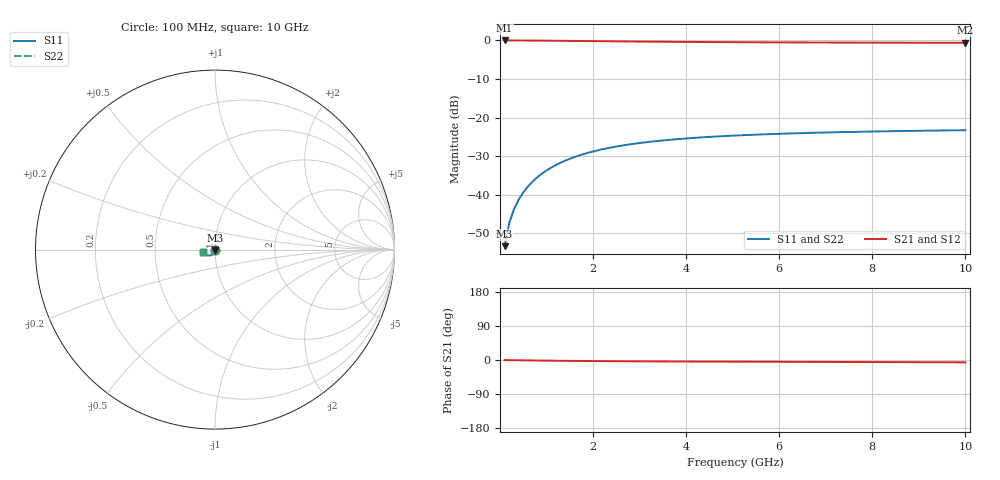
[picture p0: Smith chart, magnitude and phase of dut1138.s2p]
! Touchstone file exported from HFSS 2024.1.0
!  File:  C:/UserFiles/LocalFiles/RDL_TSV_Batchsim/temp_TSV1_1138_1780070653.aedt
!  Generated:  12:11:16 AM May 30, 2026
!  Design:  TSV1
!  Project:  temp_TSV1_1138_1780070653
!  Setup:  Setup1
!  Solution:  Sweep
! Variables:
!  dtsv = 14.49um
!  hbump = 3um
!  htsv = 95.48um
!  lrdl = 252.1521522um
!  p = 40
!  p1 = 56.03um
!  t = 500um
!  trdl = 3um
!  wrdl = 24.89489489um
# GHz S MA R 50.000000
! Terminal data exported
! Port[1] = TSV22_T1
! Port[2] = TSV22_T2
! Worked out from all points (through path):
!   100 points, 100 MHz to 10 GHz, reference 50 ohm
!   highest |S21| = 0.00 dB at 100 MHz (marker M1); lowest = -0.6 dB at 10 GHz (marker M2)
!   lowest |S11| = -53.3 dB at 100 MHz (marker M3), VSWR 1.00, Z = 50 - j0.216 ohm
!   |S11| at or under -10 dB: start of sweep to end of sweep
!   |S22| runs from -53.3 to -23.3 dB; largest |S21 - S12| = 5.6e-15
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0.1  0.002158 -89.5  0.9998 -0.2  0.9998 -0.2  0.002158 -89.5
! Gamma 0 0 0 0
! Port Impedance 50 0 50 0
0.2  0.004314 -92.5  0.9996 -0.4  0.9996 -0.4  0.004314 -92.5
0.3  0.006464 -94.7  0.9992 -0.5  0.9992 -0.5  0.006464 -94.7
0.4  0.008599 -96.8  0.9987 -0.7  0.9987 -0.7  0.008599 -96.8
0.5  0.01071 -98.8  0.9981 -0.9  0.9981 -0.9  0.01071 -98.8
0.6  0.01279 -100.8  0.9973 -1.0  0.9973 -1.0  0.01279 -100.8
0.7  0.01482 -102.7  0.9965 -1.2  0.9965 -1.2  0.01482 -102.7
0.8  0.01682 -104.6  0.9955 -1.4  0.9955 -1.4  0.01682 -104.6
0.9  0.01876 -106.4  0.9945 -1.5  0.9945 -1.5  0.01876 -106.4
1.1  0.02249 -110.0  0.9922 -1.8  0.9922 -1.8  0.02249 -110.0
1.4  0.02766 -114.9  0.9883 -2.2  0.9883 -2.2  0.02766 -114.9
1.6  0.03081 -118.1  0.9856 -2.4  0.9856 -2.4  0.03081 -118.1
1.8  0.03372 -121.0  0.9828 -2.6  0.9828 -2.6  0.03372 -121.0
2.1  0.03766 -125.1  0.9786 -2.9  0.9786 -2.9  0.03766 -125.1
2.5  0.04218 -130.0  0.9733 -3.2  0.9733 -3.2  0.04218 -130.0
2.9  0.04599 -134.3  0.9684 -3.5  0.9684 -3.5  0.04599 -134.3
3.4  0.04991 -139.0  0.9629 -3.8  0.9629 -3.8  0.04991 -139.0
4.2  0.05476 -145.3  0.9556 -4.1  0.9556 -4.1  0.05476 -145.3
5.1  0.05874 -151.0  0.9492 -4.5  0.9492 -4.5  0.05874 -151.0
6.7  0.06348 -158.9  0.9411 -5.0  0.9411 -5.0  0.06348 -158.9
8.4  0.06666 -165.2  0.9355 -5.6  0.9355 -5.6  0.06666 -165.2
10  0.06868 -170.0  0.932 -6.1  0.932 -6.1  0.06868 -170.0
